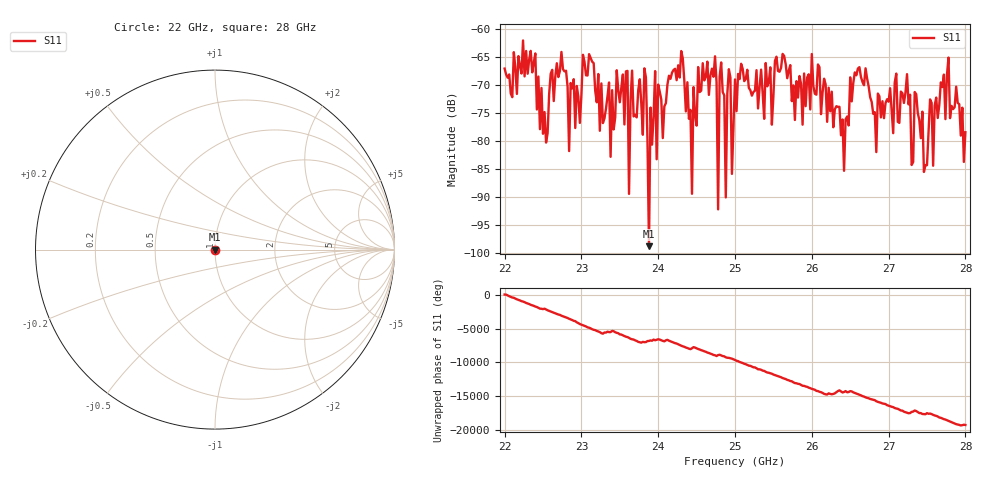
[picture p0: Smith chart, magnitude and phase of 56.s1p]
#  HZ  S  RI  R  50.00
! Rohde & Schwarz ZVA40 4Ports - Version 3.90 - 1145.1110k42 SN: 100403
! Date: 2023-10-04 09:02:38
! Measurement: S12
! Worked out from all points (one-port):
!   301 points, 22 GHz to 28 GHz, reference 50 ohm
!   lowest |S11| = -98.7 dB at 23.88 GHz (marker M1), VSWR 1.00, Z = 50 + j0.00069 ohm
!   |S11| at or under -10 dB: start of sweep to end of sweep
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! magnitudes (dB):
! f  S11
! 22 GHz  -67.0
! 22.4 GHz  -64.3
! 22.54 GHz  -80.2
! 22.76 GHz  -67.1
! 22.84 GHz  -81.8
! 23.02 GHz  -64.6
! 23.24 GHz  -78.1
! 23.5 GHz  -73.0
! 23.8 GHz  -78.8
! 23.82 GHz  -67.0
! 23.88 GHz  -98.7
! 23.96 GHz  -67.5
! 23.98 GHz  -83.2
! 24.26 GHz  -66.4
! 24.44 GHz  -89.4
! 24.52 GHz  -66.8
! 24.74 GHz  -64.8
! 24.78 GHz  -92.2
! 24.82 GHz  -65.9
! 24.88 GHz  -90.0
! 25 GHz  -69.0
! 25.76 GHz  -70.0
! 26.42 GHz  -85.3
! 26.5 GHz  -68.6
! 27.26 GHz  -73.4
! 27.58 GHz  -84.4
! 27.78 GHz  -65.1
! 28 GHz  -78.4
